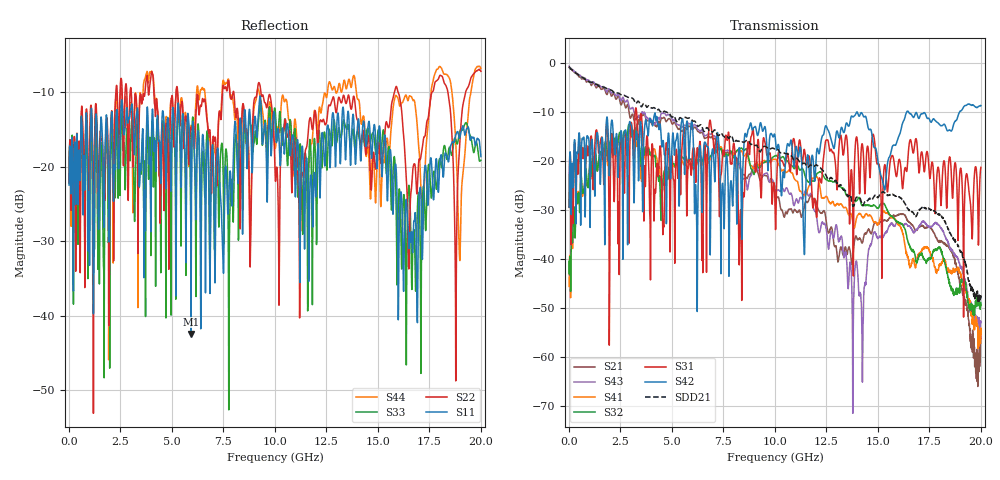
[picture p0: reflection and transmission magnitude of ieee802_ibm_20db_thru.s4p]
! Experimental Test Fixture THRU.s4p
! Disclaimer:
!  THESE MODELS ARE PROVIDED "AS IS" AND FOR MODELING PURPOSES ONLY
!  WITH NO WARRANTIES OR GUARANTEES WHATSOEVER. IBM EXPRESSLY DISCLAIMS
!  ALL WARRANTIES AND GUARANTEES, INCLUDING ALL WARRANTIES OF
!  MERCHANTABILITY,FITNESS FOR ANY PARTICULAR PURPOSE, NON-INFRINGEMENT
!  OF THIRD PARTY IBMLECTUAL PROPERTY RIGHTS, AND ANY WARRANTY
!  OTHERWISE ARISING OUT OF ANY PROPOSAL, SPECIFICATION, OR SAMPLE.
!$NUMBER_PORTS: 4
# MHz S MA R 50.00
! FREQ  S11  S12  S13  S14
!  S21  S22  S23  S24
!  S31  S32  S33  S34
!  S41  S42  S43  S44
!  MAG  ANGLE  MAG  ANGLE  MAG  ANGLE  MAG  ANGLE
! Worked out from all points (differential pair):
!   2000 points, 10 MHz to 20 GHz, reference 50 ohm
!   strongest paths, dB at 10 MHz, 5.01 GHz, 10.01 GHz, 15.01 GHz, 20 GHz:
!     S42: -29.3, -16.4, -15.0, -20.3, -8.6
!     S31: -29.4, -19.4, -29.7, -20.5, -21.2
!     S32: -40.4, -20.4, -18.9, -29.5, -49.4
!     S41: -45.5, -20.7, -19.6, -32.8, -55.2
!     S43: -0.6, -11.5, -25.0, -35.7, -53.0
!     S21: -0.8, -12.4, -25.8, -32.8, -56.2
!   taken as a pair (ports 3,1 in; 4,2 out), SDD21 dB: -0.7, -11.0, -17.5, -27.3, -47.8
!   lowest |S11| = -42.5 dB at 5.93 GHz (marker M1), VSWR 1.02, Z = 50.1 + j0.744 ohm
!   |S11| at or under -10 dB: start of sweep to end of sweep
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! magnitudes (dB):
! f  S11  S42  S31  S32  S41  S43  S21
! 10 MHz  -22.5  -29.3  -29.4  -40.4  -45.5  -0.6  -0.8
! 1.75 GHz  -18.4  -27.2  -19.3  -16.2  -16.7  -5.0  -5.4
! 5.93 GHz  -42.5  -12.5  -22.8  -19.5  -20.4  -12.6  -13.2
! 14.2 GHz  -17.9  -10.0  -17.1  -28.8  -31.1  -49.2  -36.5
! 18.09 GHz  -18.6  -12.7  -27.2  -38.7  -40.6  -33.7  -36.3
! 18.78 GHz  -15.7  -11.7  -20.7  -46.2  -41.9  -39.4  -41.0
! 20 GHz  -18.6  -8.6  -21.2  -49.4  -55.2  -53.0  -56.2
